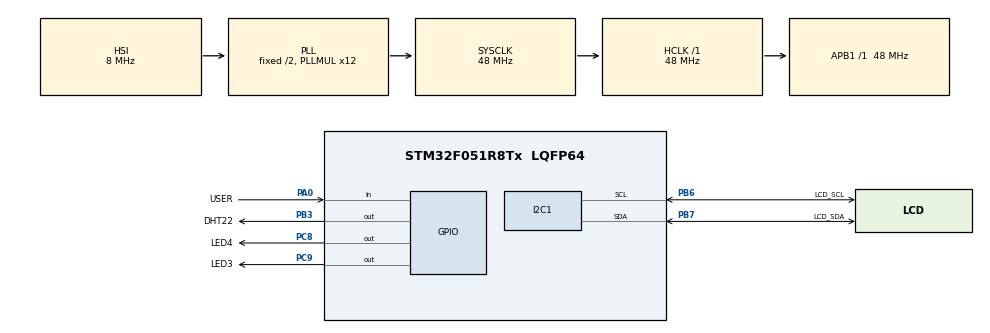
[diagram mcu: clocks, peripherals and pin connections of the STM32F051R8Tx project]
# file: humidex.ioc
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Dma.I2C1_RX.0.Direction=DMA_PERIPH_TO_MEMORY
Dma.I2C1_RX.0.Instance=DMA1_Channel3
Dma.I2C1_RX.0.MemDataAlignment=DMA_MDATAALIGN_BYTE
Dma.I2C1_RX.0.MemInc=DMA_MINC_ENABLE
Dma.I2C1_RX.0.Mode=DMA_NORMAL
Dma.I2C1_RX.0.PeriphDataAlignment=DMA_PDATAALIGN_BYTE
Dma.I2C1_RX.0.PeriphInc=DMA_PINC_DISABLE
Dma.I2C1_RX.0.Priority=DMA_PRIORITY_LOW
Dma.I2C1_TX.1.Direction=DMA_MEMORY_TO_PERIPH
Dma.I2C1_TX.1.Instance=DMA1_Channel2
Dma.I2C1_TX.1.MemDataAlignment=DMA_MDATAALIGN_BYTE
Dma.I2C1_TX.1.MemInc=DMA_MINC_ENABLE
Dma.I2C1_TX.1.Mode=DMA_NORMAL
Dma.I2C1_TX.1.PeriphDataAlignment=DMA_PDATAALIGN_BYTE
Dma.I2C1_TX.1.PeriphInc=DMA_PINC_DISABLE
Dma.I2C1_TX.1.Priority=DMA_PRIORITY_LOW
Dma.Request0=I2C1_RX
Dma.Request1=I2C1_TX
FREERTOS.INCLUDE_vTaskDelayUntil=1
FREERTOS.Tasks01=defaultTask,0,128,StartDefaultTask,Default,NULL,Dynamic,NULL,NULL;myTask02,0,128,dht22Task,Default,NULL,Dynamic,NULL,NULL;myTask03,-1,128,LcdTask,Default,NULL,Dynamic,NULL,NULL
Mcu.Family=STM32F0
Mcu.Name=STM32F051R8Tx
Mcu.Package=LQFP64
NVIC.DMA1_Channel2_3_IRQn=true\:3\:0\:false\:false\:true\:true\:false
NVIC.I2C1_IRQn=true\:3\:0\:false\:false\:true\:true\:true
NVIC.TIM1_BRK_UP_TRG_COM_IRQn=true\:0\:0\:false\:false\:true\:false\:false
NVIC.TIM3_IRQn=true\:3\:0\:false\:false\:true\:true\:true
NVIC.TimeBase=TIM1_BRK_UP_TRG_COM_IRQn
NVIC.TimeBaseIP=TIM1
PA0.GPIO_Label=USER
PA0.Signal=GPIO_Input
PB3.GPIO_Label=DHT22
PB3.GPIO_Speed=GPIO_SPEED_FREQ_HIGH
PB3.PinState=GPIO_PIN_SET
PB3.Signal=GPIO_Output
PB6.GPIO_Label=LCD_SCL
PB6.Mode=I2C
PB6.Signal=I2C1_SCL
PB7.GPIO_Label=LCD_SDA
PB7.Mode=I2C
PB7.Signal=I2C1_SDA
PC8.GPIO_Label=LED4
PC8.GPIO_Speed=GPIO_SPEED_FREQ_HIGH
PC8.PinState=GPIO_PIN_SET
PC8.Signal=GPIO_Output
PC9.GPIO_Label=LED3
PC9.PinState=GPIO_PIN_SET
PC9.Signal=GPIO_Output
ProjectManager.HeapSize=0x200
ProjectManager.StackSize=0x400
ProjectManager.TargetToolchain=Makefile
RCC.AHBFreq_Value=48000000
RCC.APB1Freq_Value=48000000
RCC.APB1TimFreq_Value=48000000
RCC.HCLKFreq_Value=48000000
RCC.PLLMUL=RCC_PLL_MUL12
RCC.SYSCLKFreq_VALUE=48000000
RCC.SYSCLKSource=RCC_SYSCLKSOURCE_PLLCLK
TIM3.Period=65535
TIM3.Prescaler=47
VP_FREERTOS_VS_ENABLE.Mode=Enabled
VP_RTC_VS_RTC_Activate.Mode=RTC_Enabled
VP_SYS_VS_tim1.Mode=TIM1
VP_TIM3_VS_ClockSourceINT.Mode=Internal
board=custom

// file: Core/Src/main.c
/* USER CODE BEGIN Header */
/**
  ******************************************************************************
  * @file           : main.c
  * @brief          : Main program body
  ******************************************************************************
  * This notice applies to any and all portions of this file
  * that are not between comment pairs USER CODE BEGIN and
  * USER CODE END. Other portions of this file, whether
  * inserted by the user or by software development tools
  * are owned by their respective copyright owners.
  *
  * Copyright (c) 2019 STMicroelectronics International N.V.
  * All rights reserved.
  *
  * Redistribution and use in source and binary forms, with or without
  * modification, are permitted, provided that the following conditions are met:
  *
  * 1. Redistribution of source code must retain the above copyright notice,
  *    this list of conditions and the following disclaimer.
  * 2. Redistributions in binary form must reproduce the above copyright notice,
  *    this list of conditions and the following disclaimer in the documentation
  *    and/or other materials provided with the distribution.
  * 3. Neither the name of STMicroelectronics nor the names of other
  *    contributors to this software may be used to endorse or promote products
  *    derived from this software without specific written permission.
  * 4. This software, including modifications and/or derivative works of this
  *    software, must execute solely and exclusively on microcontroller or
  *    microprocessor devices manufactured by or for STMicroelectronics.
  * 5. Redistribution and use of this software other than as permitted under
  *    this license is void and will automatically terminate your rights under
  *    this license.
  *
  * THIS SOFTWARE IS PROVIDED BY STMICROELECTRONICS AND CONTRIBUTORS "AS IS"
  * AND ANY EXPRESS, IMPLIED OR STATUTORY WARRANTIES, INCLUDING, BUT NOT
  * LIMITED TO, THE IMPLIED WARRANTIES OF MERCHANTABILITY, FITNESS FOR A
  * PARTICULAR PURPOSE AND NON-INFRINGEMENT OF THIRD PARTY INTELLECTUAL PROPERTY
  * RIGHTS ARE DISCLAIMED TO THE FULLEST EXTENT PERMITTED BY LAW. IN NO EVENT
  * SHALL STMICROELECTRONICS OR CONTRIBUTORS BE LIABLE FOR ANY DIRECT, INDIRECT,
  * INCIDENTAL, SPECIAL, EXEMPLARY, OR CONSEQUENTIAL DAMAGES (INCLUDING, BUT NOT
  * LIMITED TO, PROCUREMENT OF SUBSTITUTE GOODS OR SERVICES; LOSS OF USE, DATA,
  * OR PROFITS; OR BUSINESS INTERRUPTION) HOWEVER CAUSED AND ON ANY THEORY OF
  * LIABILITY, WHETHER IN CONTRACT, STRICT LIABILITY, OR TORT (INCLUDING
  * NEGLIGENCE OR OTHERWISE) ARISING IN ANY WAY OUT OF THE USE OF THIS SOFTWARE,
  * EVEN IF ADVISED OF THE POSSIBILITY OF SUCH DAMAGE.
  *
  ******************************************************************************
  */
/* USER CODE END Header */

#include "main.h"
#include "cmsis_os.h"
#include "dma.h"
#include "i2c.h"
#include "rtc.h"
#include "tim.h"
#include "gpio.h"

void SystemClock_Config(void);
void MX_FREERTOS_Init(void);

int main(void)
{

  /* MCU Configuration--------------------------------------------------------*/

  /* Reset of all peripherals, Initializes the Flash interface and the Systick. */
  HAL_Init();

  /* Configure the system clock */
  SystemClock_Config();

  /* Initialize all configured peripherals */
  MX_GPIO_Init();
  MX_DMA_Init();
  MX_RTC_Init();
  MX_TIM3_Init();
  MX_I2C1_Init();

  /* Call init function for freertos objects (in freertos.c) */
  MX_FREERTOS_Init();

  /* Start scheduler */
  osKernelStart();

  /* We should never get here as control is now taken by the scheduler */

  /* Infinite loop */
  while (1)
  {

  }
}

void SystemClock_Config(void)
{
  RCC_OscInitTypeDef RCC_OscInitStruct = {0};
  RCC_ClkInitTypeDef RCC_ClkInitStruct = {0};
  RCC_PeriphCLKInitTypeDef PeriphClkInit = {0};

  /**Initializes the CPU, AHB and APB busses clocks
  */
  RCC_OscInitStruct.OscillatorType = RCC_OSCILLATORTYPE_HSI|RCC_OSCILLATORTYPE_LSI;
  RCC_OscInitStruct.HSIState = RCC_HSI_ON;
  RCC_OscInitStruct.HSICalibrationValue = RCC_HSICALIBRATION_DEFAULT;
  RCC_OscInitStruct.LSIState = RCC_LSI_ON;
  RCC_OscInitStruct.PLL.PLLState = RCC_PLL_ON;
  RCC_OscInitStruct.PLL.PLLSource = RCC_PLLSOURCE_HSI;
  RCC_OscInitStruct.PLL.PLLMUL = RCC_PLL_MUL12;
  RCC_OscInitStruct.PLL.PREDIV = RCC_PREDIV_DIV1;
  if (HAL_RCC_OscConfig(&RCC_OscInitStruct) != HAL_OK)
  {
    Error_Handler();
  }
  /**Initializes the CPU, AHB and APB busses clocks
  */
  RCC_ClkInitStruct.ClockType = RCC_CLOCKTYPE_HCLK|RCC_CLOCKTYPE_SYSCLK
                              |RCC_CLOCKTYPE_PCLK1;
  RCC_ClkInitStruct.SYSCLKSource = RCC_SYSCLKSOURCE_PLLCLK;
  RCC_ClkInitStruct.AHBCLKDivider = RCC_SYSCLK_DIV1;
  RCC_ClkInitStruct.APB1CLKDivider = RCC_HCLK_DIV1;

  if (HAL_RCC_ClockConfig(&RCC_ClkInitStruct, FLASH_LATENCY_1) != HAL_OK)
  {
    Error_Handler();
  }
  PeriphClkInit.PeriphClockSelection = RCC_PERIPHCLK_I2C1|RCC_PERIPHCLK_RTC;
  PeriphClkInit.I2c1ClockSelection = RCC_I2C1CLKSOURCE_HSI;
  PeriphClkInit.RTCClockSelection = RCC_RTCCLKSOURCE_LSI;
  if (HAL_RCCEx_PeriphCLKConfig(&PeriphClkInit) != HAL_OK)
  {
    Error_Handler();
  }
}

void HAL_TIM_PeriodElapsedCallback(TIM_HandleTypeDef *htim)
{
  if (htim->Instance == TIM1) {
    HAL_IncTick();
  }
}

void Error_Handler(void)
{
}

/************************ (C) COPYRIGHT STMicroelectronics *****END OF FILE****/

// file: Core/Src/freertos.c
/* USER CODE BEGIN Header */
/**
  ******************************************************************************
  * File Name          : freertos.c
  * Description        : Code for freertos applications
  ******************************************************************************
  * This notice applies to any and all portions of this file
  * that are not between comment pairs USER CODE BEGIN and
  * USER CODE END. Other portions of this file, whether
  * inserted by the user or by software development tools
  * are owned by their respective copyright owners.
  *
  * Copyright (c) 2019 STMicroelectronics International N.V.
  * All rights reserved.
  *
  * Redistribution and use in source and binary forms, with or without
  * modification, are permitted, provided that the following conditions are met:
  *
  * 1. Redistribution of source code must retain the above copyright notice,
  *    this list of conditions and the following disclaimer.
  * 2. Redistributions in binary form must reproduce the above copyright notice,
  *    this list of conditions and the following disclaimer in the documentation
  *    and/or other materials provided with the distribution.
  * 3. Neither the name of STMicroelectronics nor the names of other
  *    contributors to this software may be used to endorse or promote products
  *    derived from this software without specific written permission.
  * 4. This software, including modifications and/or derivative works of this
  *    software, must execute solely and exclusively on microcontroller or
  *    microprocessor devices manufactured by or for STMicroelectronics.
  * 5. Redistribution and use of this software other than as permitted under
  *    this license is void and will automatically terminate your rights under
  *    this license.
  *
  * THIS SOFTWARE IS PROVIDED BY STMICROELECTRONICS AND CONTRIBUTORS "AS IS"
  * AND ANY EXPRESS, IMPLIED OR STATUTORY WARRANTIES, INCLUDING, BUT NOT
  * LIMITED TO, THE IMPLIED WARRANTIES OF MERCHANTABILITY, FITNESS FOR A
  * PARTICULAR PURPOSE AND NON-INFRINGEMENT OF THIRD PARTY INTELLECTUAL PROPERTY
  * RIGHTS ARE DISCLAIMED TO THE FULLEST EXTENT PERMITTED BY LAW. IN NO EVENT
  * SHALL STMICROELECTRONICS OR CONTRIBUTORS BE LIABLE FOR ANY DIRECT, INDIRECT,
  * INCIDENTAL, SPECIAL, EXEMPLARY, OR CONSEQUENTIAL DAMAGES (INCLUDING, BUT NOT
  * LIMITED TO, PROCUREMENT OF SUBSTITUTE GOODS OR SERVICES; LOSS OF USE, DATA,
  * OR PROFITS; OR BUSINESS INTERRUPTION) HOWEVER CAUSED AND ON ANY THEORY OF
  * LIABILITY, WHETHER IN CONTRACT, STRICT LIABILITY, OR TORT (INCLUDING
  * NEGLIGENCE OR OTHERWISE) ARISING IN ANY WAY OUT OF THE USE OF THIS SOFTWARE,
  * EVEN IF ADVISED OF THE POSSIBILITY OF SUCH DAMAGE.
  *
  ******************************************************************************
  */
/* USER CODE END Header */

#include "FreeRTOS.h"
#include "task.h"
#include "main.h"
#include "cmsis_os.h"

/* USER CODE BEGIN Includes */
#include "DHT22.h"
#include "pcf8574.h"
#include "i2c.h"
#include "humidex.h"
/* USER CODE END Includes */

osThreadId defaultTaskHandle;
osThreadId myTask02Handle;
osThreadId myTask03Handle;
EventGroupHandle_t xEnvEventGroup;
static float humidity;
static float temperature;
static float hmdx;

void StartDefaultTask(void const * argument);
void dht22Task(void const * argument);
void LcdTask(void const * argument);

void MX_FREERTOS_Init(void); /* (MISRA C 2004 rule 8.1) */

void MX_FREERTOS_Init(void) {

  /* Create the thread(s) */
  /* definition and creation of defaultTask */
  osThreadDef(defaultTask, StartDefaultTask, osPriorityNormal, 0, 128);
  defaultTaskHandle = osThreadCreate(osThread(defaultTask), NULL);

  /* definition and creation of myTask02 */
  osThreadDef(myTask02, dht22Task, osPriorityNormal, 0, 128);
  myTask02Handle = osThreadCreate(osThread(myTask02), NULL);

  /* definition and creation of myTask03 */
  osThreadDef(myTask03, LcdTask, osPriorityBelowNormal, 0, 128);
  myTask03Handle = osThreadCreate(osThread(myTask03), NULL);

  /* USER CODE BEGIN RTOS_THREADS */
  /* add threads, ... */
  xEnvEventGroup = xEventGroupCreate();
  if( xEnvEventGroup == NULL );
  /* USER CODE END RTOS_THREADS */

}

void StartDefaultTask(void const * argument)
{

  /* USER CODE BEGIN StartDefaultTask */
  /* Infinite loop */
  for(;;)
  {
	GPIO_PinState buttonpin;
	buttonpin = HAL_GPIO_ReadPin(USER_GPIO_Port,USER_Pin);
	if(buttonpin){
		HAL_GPIO_WritePin(LED3_GPIO_Port,LED3_Pin,GPIO_PIN_SET);
	}
	else HAL_GPIO_WritePin(LED3_GPIO_Port,LED3_Pin,GPIO_PIN_RESET);
    osDelay(1);
  }
  /* USER CODE END StartDefaultTask */
}

void dht22Task(void const * argument)
{
  /* USER CODE BEGIN dht22Task */
  /* Infinite loop */
  static dht22_data data;
  DHT22_Init();

  for(;;)
  {
	if (DHT22_Read(&data)==true){

		temperature = data.temperature;
		humidity = data.humidity;
		hmdx = humidex(temperature, humidity);
		xEventGroupSetBits(xEnvEventGroup,DHTDATAREADY);

	}
    osDelay(1000);
    xEventGroupClearBits(xEnvEventGroup,DHTDATAREADY);
  }
  /* USER CODE END dht22Task */
}

void LcdTask(void const * argument)
{
  /* USER CODE BEGIN LcdTask */
	uint8_t idx = 0;
	char texto[9];
	const char running[4] = {0,0x7c,0x2f,0x2d};

	/* USER CODE BEGIN StartDefaultTask */
	lcdInit(&hi2c1, (uint8_t)0x27, (uint8_t)2, (uint8_t)16);

    uint8_t barrainv[8] = {0,0x10,0x8,0x4,0x2,0x1,0,0};
	lcdLoadCustomChar(0, barrainv);

	// Set cursor at zero position of line 3
	lcdSetCursorPosition(0, 0);

	for (;;) {
		xEventGroupWaitBits(xEnvEventGroup,DHTDATAREADY,pdTRUE, pdFALSE, portMAX_DELAY);
		lcdSetCursorPosition(0, 0);
		fmtTemp(temperature,texto);
		lcdPrintStr((uint8_t*)texto, 9);

		lcdSetCursorPosition(0, 1);
		fmtHum(humidity,texto);
		lcdPrintStr((uint8_t*)texto, 9);

		lcdSetCursorPosition(10,0);
		fmtHmdxL1(hmdx,texto);
		lcdPrintStr((uint8_t*)texto, 6);

		lcdSetCursorPosition(12,1);
		sprintf(texto,"%d",(int)hmdx);
		lcdPrintStr((uint8_t*)texto, 2);

		lcdSetCursorPosition(9, 1);
		lcdPrintChar(running[idx]);

	    idx++;
	    if (idx>=4) idx = 0;
	    vTaskDelay(100);
	}
  /* USER CODE END LcdTask */
}

/************************ (C) COPYRIGHT STMicroelectronics *****END OF FILE****/
